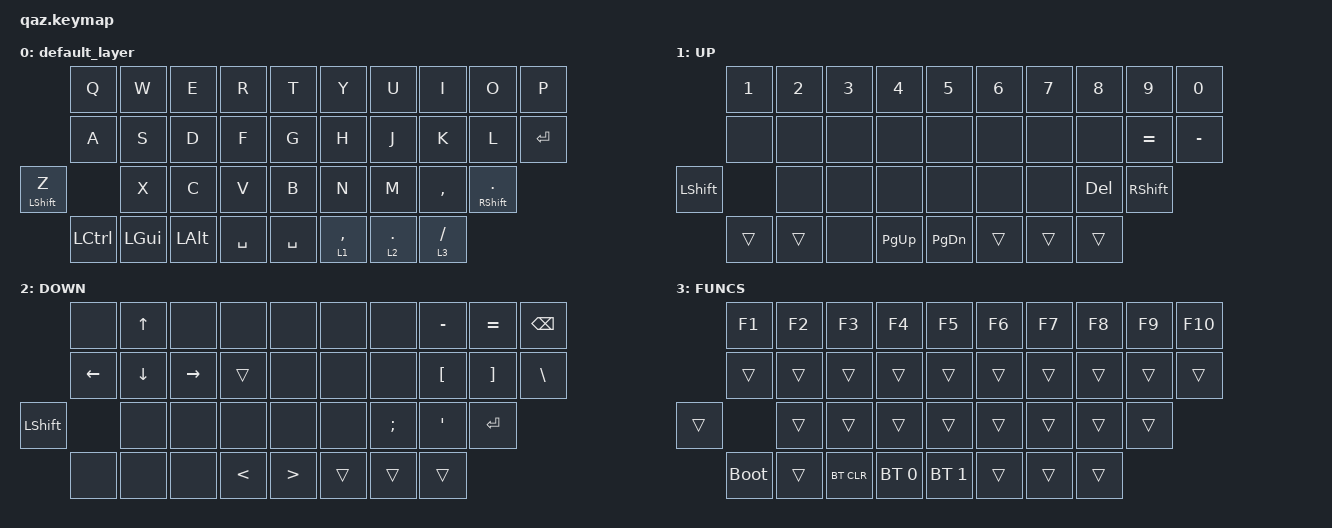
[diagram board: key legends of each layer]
/*
 * Copyright (c) 2020 The ZMK Contributors
 *
 * SPDX-License-Identifier: MIT
 */

#include <behaviors.dtsi>
#include <dt-bindings/zmk/keys.h>
#include <dt-bindings/zmk/bt.h>

#define DEFAULT 0
#define UP      1
#define DOWN    2
#define FUNCS   3

/ {
    behaviors {
        hm: homerow_mods {
            compatible = "zmk,behavior-hold-tap";
            label = "homerow mods";
            #binding-cells = <2>;
            tapping-term-ms = <225>;
            flavor = "tap-preferred";
            bindings =
                <&kp>,
                <&kp>;
        };
    };
};

/ {
    combos {
        compatible = "zmk,combos";

        ble_clr {
            bindings = <&bt BT_CLR>;
            key-positions = <36 35 34 0>;
        };

        ble_nxt {
            bindings = <&bt BT_NXT>;
            key-positions = <36 35 34 1>;
        };

        ble_prv {
            bindings = <&bt BT_PRV>;
            key-positions = <36 35 34 2>;
        };

        boot {
            bindings = <&bootloader>;
            key-positions = <30 36 34 35>;
        };
    };

    keymap {
        compatible = "zmk,keymap";

        default_layer {
            bindings = <
            &kp Q     &kp W     &kp E      &kp R      &kp T        &kp Y         &kp U        &kp I                   &kp O       &kp P
            &kp A     &kp S     &kp D      &kp F      &kp G        &kp H         &kp J        &kp K                   &kp L  &kp RETURN
 &hm LEFT_SHIFT Z     &kp X     &kp C      &kp V      &kp B        &kp N         &kp M    &kp COMMA  &hm RIGHT_SHIFT PERIOD
        &kp LCTRL  &kp LGUI  &kp LALT  &kp SPACE  &kp SPACE  &lt 1 COMMA  &lt 2 PERIOD  &lt 3 SLASH
            >;
        };

        UP {
            bindings = <
         &kp N1  &kp N2  &kp N3     &kp N4         &kp N5  &kp N6  &kp N7      &kp N8           &kp N9     &kp N0
          &none   &none   &none      &none          &none   &none   &none       &none        &kp EQUAL  &kp MINUS
 &kp LEFT_SHIFT   &none   &none      &none          &none   &none   &none  &kp DELETE  &kp RIGHT_SHIFT
         &trans  &trans   &none  &kp PG_UP  &kp PAGE_DOWN  &trans  &trans      &trans
            >;
        };

        DOWN {
            bindings = <
          &none    &kp UP_ARROW      &none          &none             &none   &none          &none         &kp MINUS          &kp EQUAL       &kp BSPC
       &kp LEFT  &kp DOWN_ARROW  &kp RIGHT         &trans             &none   &none          &none  &kp LEFT_BRACKET  &kp RIGHT_BRACKET  &kp BACKSLASH
 &kp LEFT_SHIFT           &none      &none          &none             &none   &none  &kp SEMICOLON    &kp APOSTROPHE            &kp RET
          &none           &none      &none  &kp LESS_THAN  &kp GREATER_THAN  &trans         &trans            &trans
            >;
        };

        FUNCS {
            bindings = <
      &kp F1  &kp F2      &kp F3        &kp F4        &kp F5  &kp F6  &kp F7  &kp F8  &kp F9  &kp F10
      &trans  &trans      &trans        &trans        &trans  &trans  &trans  &trans  &trans   &trans
      &trans  &trans      &trans        &trans        &trans  &trans  &trans  &trans  &trans
 &bootloader  &trans  &bt BT_CLR  &bt BT_SEL 0  &bt BT_SEL 1  &trans  &trans  &trans
            >;
        };
    };
};
